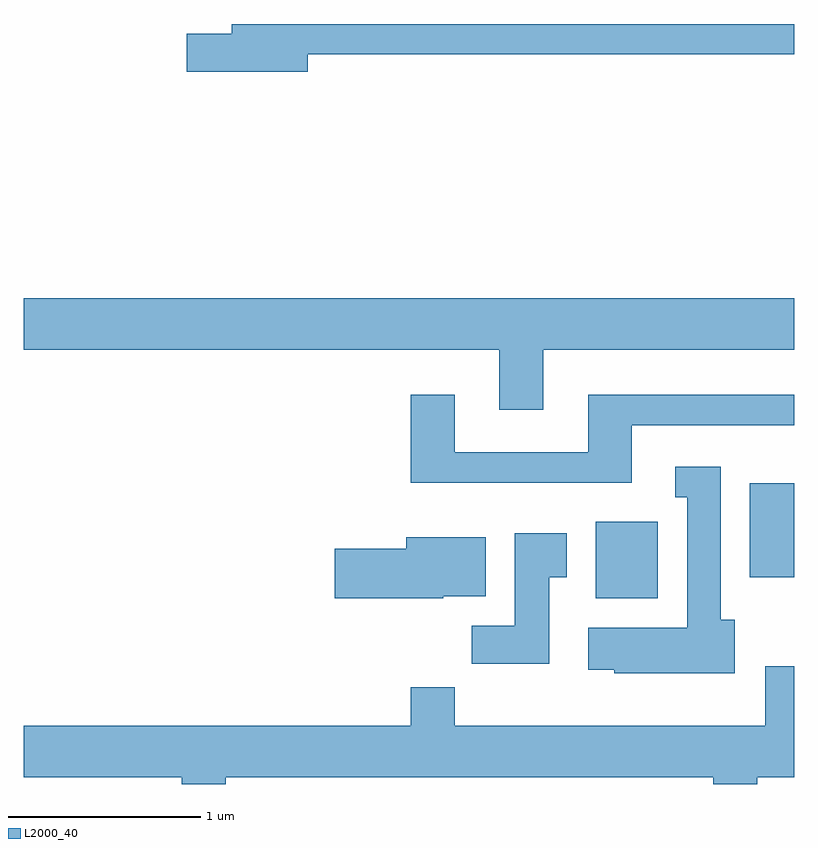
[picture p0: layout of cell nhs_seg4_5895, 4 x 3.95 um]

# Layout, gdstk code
import gdstk
lib = gdstk.Library(unit=1e-6, precision=1e-09)
def R(c, l, rs):  # rectangles x0, y0, x1, y1
    for r in rs: c.add(gdstk.rectangle(r[:2], r[2:], *l))
def P(c, l, *ps):  # polygons
    for p in ps: c.add(gdstk.Polygon(p, *l))
L2000_40 = (2000, 40)

nhs_seg4_5895 = lib.new_cell('nhs_seg4_5895')
R(nhs_seg4_5895, L2000_40, [(360.581,1348.946,360.904,1349.344), (361.381,1349.056,361.611,1349.544)])
P(nhs_seg4_5895, L2000_40, [(359.084,1351.771),(361.611,1351.771),(361.611,1351.929),(358.691,1351.929),(358.691,1351.879),(358.456,1351.879),(358.456,1351.681),(359.084,1351.681)],
  [(360.309,1350.236),(361.611,1350.236),(361.611,1350.504),(357.611,1350.504),(357.611,1350.236),(360.081,1350.236),(360.081,1349.926),(360.309,1349.926)],
  [(360.769,1349.846),(361.611,1349.846),(361.611,1350.004),(360.541,1350.004),(360.541,1349.704),(359.849,1349.704),(359.849,1350.004),(359.621,1350.004),(359.621,1349.546),(360.769,1349.546)],
  [(361.304,1348.834),(361.229,1348.834),(361.229,1349.629),(360.993,1349.629),(360.993,1349.471),(361.056,1349.471),(361.056,1348.794),(360.541,1348.794),(360.541,1348.576),(360.676,1348.576),(360.676,1348.556),(361.304,1348.556)],
  [(360.339,1349.056),(360.429,1349.056),(360.429,1349.284),(360.161,1349.284),(360.161,1348.804),(359.936,1348.804),(359.936,1348.606),(360.339,1348.606)],
  [(359.79,1348.956),(360.009,1348.956),(360.009,1349.264),(359.596,1349.264),(359.596,1349.204),(359.226,1349.204),(359.226,1348.946),(359.79,1348.946)],
  [(358.659,1348.016),(361.191,1348.016),(361.191,1347.982),(361.419,1347.982),(361.419,1348.016),(361.611,1348.016),(361.611,1348.594),(361.461,1348.594),(361.461,1348.284),(359.849,1348.284),(359.849,1348.484),(359.621,1348.484),(359.621,1348.284),(357.611,1348.284),(357.611,1348.016),(358.431,1348.016),(358.431,1347.982),(358.659,1347.982)])

lib.write_gds('nhs_seg4_5895.gds')
